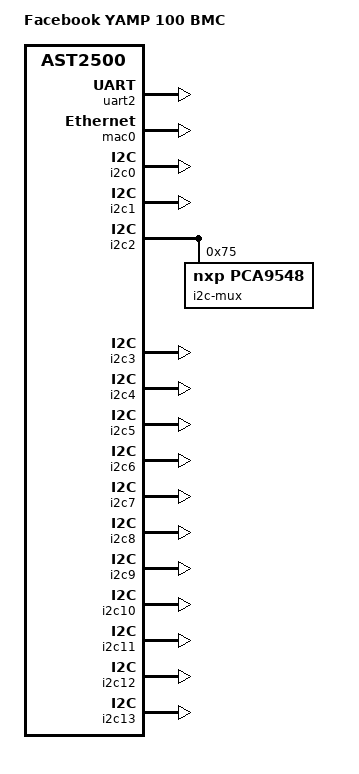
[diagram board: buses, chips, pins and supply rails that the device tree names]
// SPDX-License-Identifier: GPL-2.0+
// Copyright (c) 2018 Facebook Inc.
/dts-v1/;

#include "ast2500-facebook-netbmc-common.dtsi"

/ {
	model = "Facebook YAMP 100 BMC";
	compatible = "facebook,yamp-bmc", "aspeed,ast2500";

	aliases {
		/*
		 * Override the default uart aliases to avoid breaking
		 * the legacy applications.
		 */
		serial0 = &uart5;
		serial1 = &uart1;
		serial2 = &uart2;
		serial3 = &uart3;
	};

	chosen {
		stdout-path = &uart5;
		bootargs = "console=ttyS0,9600n8 root=/dev/ram rw";
	};
};

&uart2 {
	status = "okay";
	pinctrl-names = "default";
	pinctrl-0 = <&pinctrl_txd2_default
		     &pinctrl_rxd2_default>;
};

&mac0 {
	status = "okay";
	use-ncsi;
	pinctrl-names = "default";
	pinctrl-0 = <&pinctrl_rmii1_default>;
	clocks = <&syscon ASPEED_CLK_GATE_MAC1CLK>,
		 <&syscon ASPEED_CLK_MAC1RCLK>;
	clock-names = "MACCLK", "RCLK";
};

&mac1 {
	status = "disabled";
};

&i2c0 {
	status = "okay";
};

&i2c1 {
	status = "okay";
};

&i2c2 {
	status = "okay";

	i2c-mux@75 {
		compatible = "nxp,pca9548";
		#address-cells = <1>;
		#size-cells = <0>;
		reg = <0x75>;
	};
};

&i2c3 {
	status = "okay";
};

&i2c4 {
	status = "okay";
};

&i2c5 {
	status = "okay";
};

&i2c6 {
	status = "okay";
};

&i2c7 {
	status = "okay";
};

&i2c8 {
	status = "okay";
};

&i2c9 {
	status = "okay";
};

&i2c10 {
	status = "okay";
};

&i2c11 {
	status = "okay";
};

&i2c12 {
	status = "okay";
};

&i2c13 {
	status = "okay";
};

&fmc_flash0 {
#include "facebook-bmc-flash-layout.dtsi"
};

&fmc_flash1 {
	partitions {
		compatible = "fixed-partitions";
		#address-cells = <1>;
		#size-cells = <1>;

		flash1@0 {
			reg = <0x0 0x2000000>;
			label = "flash1";
		};
	};
};
